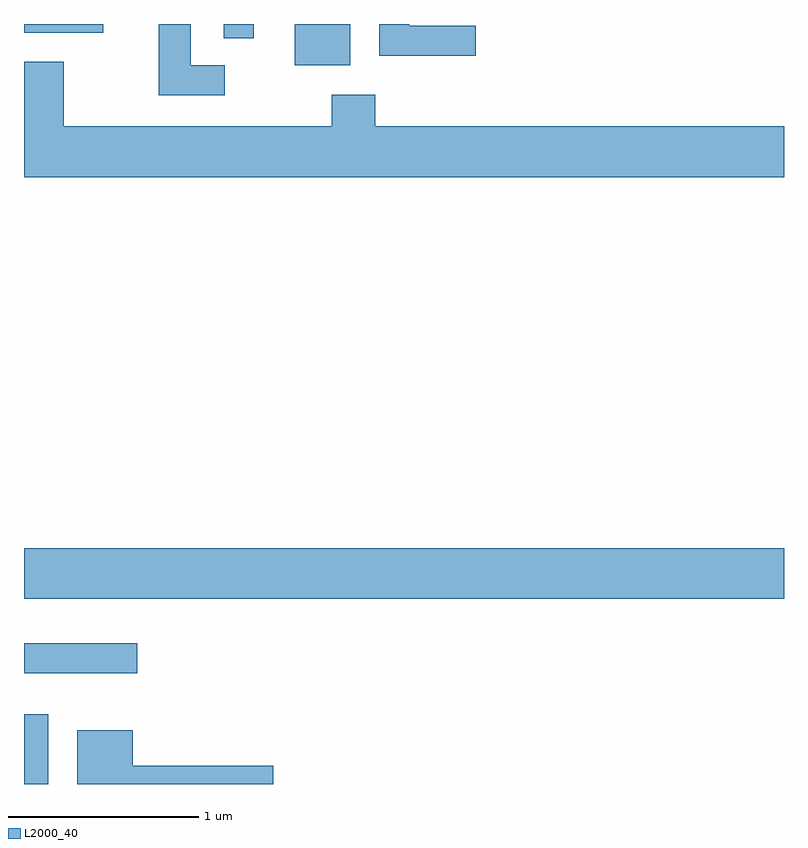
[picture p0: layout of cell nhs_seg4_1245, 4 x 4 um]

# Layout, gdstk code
import gdstk
lib = gdstk.Library(unit=1e-6, precision=1e-09)
def R(c, l, rs):  # rectangles x0, y0, x1, y1
    for r in rs: c.add(gdstk.rectangle(r[:2], r[2:], *l))
def P(c, l, *ps):  # polygons
    for p in ps: c.add(gdstk.Polygon(p, *l))
L2000_40 = (2000, 40)

nhs_seg4_1245 = lib.new_cell('nhs_seg4_1245')
R(nhs_seg4_1245, L2000_40, [(221.611,1295.982,221.739,1296.349), (221.611,1296.566,222.208,1296.724), (221.611,1296.956,225.611,1297.224), (223.036,1299.766,223.329,1299.982), (222.661,1299.908,222.819,1299.982), (221.611,1299.936,222.029,1299.982)])
P(nhs_seg4_1245, L2000_40, [(223.988,1299.974),(223.639,1299.974),(223.639,1299.982),(223.481,1299.982),(223.481,1299.816),(223.988,1299.816)],
  [(222.668,1299.764),(222.489,1299.764),(222.489,1299.982),(222.321,1299.982),(222.321,1299.606),(222.668,1299.606)],
  [(225.611,1299.444),(223.459,1299.444),(223.459,1299.609),(223.231,1299.609),(223.231,1299.444),(221.819,1299.444),(221.819,1299.784),(221.611,1299.784),(221.611,1299.176),(225.611,1299.176)],
  [(222.924,1296.079),(222.184,1296.079),(222.184,1296.264),(221.891,1296.264),(221.891,1295.982),(222.924,1295.982)])

lib.write_gds('nhs_seg4_1245.gds')
